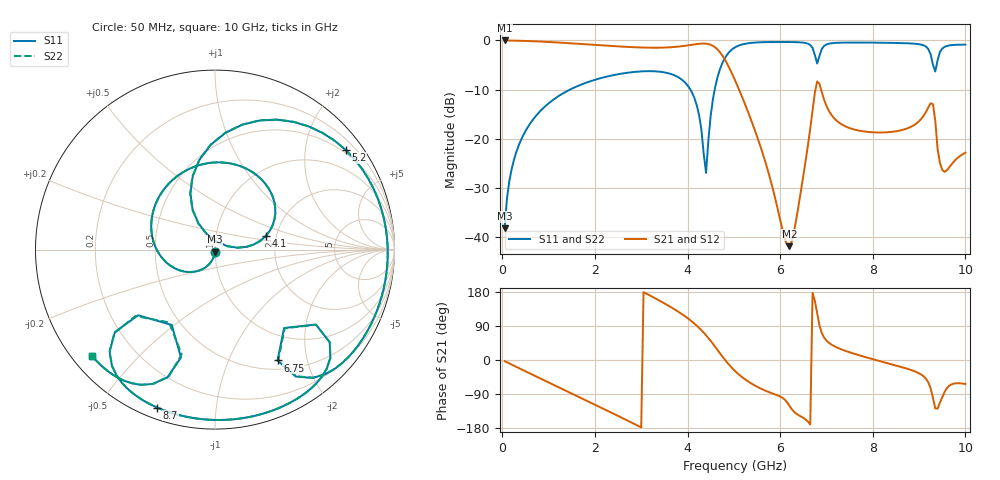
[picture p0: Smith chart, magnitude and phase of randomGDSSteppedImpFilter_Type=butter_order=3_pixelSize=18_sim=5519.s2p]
! freq	dB(S11)	phase(S11)	dB(S12)	phase(S12)
!  dB(S21)	phase(S21)	dB(S22)	phase(S22)
!S-par simulation data
#  GHz  S  DB  R 50
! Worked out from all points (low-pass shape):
!   200 points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, 50 MHz to 10 GHz, reference 50 ohm
!   highest |S21| = -0.01 dB at 50 MHz (marker M1); lowest = -41.8 dB at 6.2 GHz (marker M2)
!   |S21| within 3 dB of the highest: start of sweep to 4.747 GHz
!   lowest |S11| = -38.2 dB at 50 MHz (marker M3), VSWR 1.03, Z = 49.9 - j1.23 ohm
!   |S11| at or under -10 dB: start of sweep to 1.458 GHz; 4.062 GHz to 4.587 GHz (524.7 MHz wide, 12.1 % of centre)
!   |S22| runs from -38.2 to -0.3 dB; largest |S21 - S12| = 0
!   S11 on the Smith chart (normalised r, x): 50 MHz: 1.00, -0.02; 4.1 GHz: 1.76, +0.29; 5.2 GHz: 0.42, +2.90; 6.75 GHz: 0.62, -1.53; 8.7 GHz: 0.05, -0.70; 10 GHz: 0.06, -0.37
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0.05  -38.15 -92.5  -0.01 -3.0  -0.01 -3.0  -38.15 -92.6
0.2  -26.22 -102.0  -0.03 -12.0  -0.03 -12.0  -26.22 -102.0
0.5  -18.42 -120.3  -0.10 -29.8  -0.10 -29.8  -18.42 -120.3
1.75  -8.80 166.0  -0.75 -103.3  -0.75 -103.3  -8.80 165.9
2.6  -6.70 115.9  -1.27 -153.5  -1.27 -153.5  -6.71 115.8
3.4  -6.35 66.3  -1.47 156.3  -1.47 156.3  -6.35 66.2
4.1  -10.64 15.1  -0.87 101.1  -0.87 101.1  -10.65 15.0
4.4  -26.90 76.7  -0.66 65.4  -0.66 65.4  -27.09 77.1
4.6  -9.33 113.6  -1.43 34.3  -1.43 34.3  -9.33 113.9
5.05  -1.28 52.5  -8.61 -32.0  -8.61 -32.0  -1.28 52.7
5.2  -0.77 37.3  -11.99 -47.3  -11.99 -47.3  -0.77 37.5
6.2  -0.32 -26.1  -41.78 -120.7  -41.78 -120.7  -0.32 -25.9
6.7  -1.53 -57.5  -14.23 177.2  -14.23 177.2  -1.52 -57.2
6.75  -2.99 -60.6  -10.57 155.9  -10.57 155.9  -2.96 -60.3
6.85  -3.10 -36.6  -8.84 90.9  -8.84 90.9  -3.07 -36.6
6.95  -1.11 -43.1  -12.07 59.0  -12.07 59.0  -1.10 -43.1
8.35  -0.49 -98.3  -18.62 -9.4  -18.62 -9.4  -0.49 -98.2
8.7  -0.56 -110.1  -18.02 -21.4  -18.02 -21.4  -0.56 -110.0
9.3  -4.99 -139.5  -12.94 -100.1  -12.94 -100.1  -4.77 -140.2
9.4  -4.00 -107.5  -22.05 -128.3  -22.05 -128.3  -4.25 -107.6
9.5  -1.65 -115.0  -26.29 -98.2  -26.29 -98.2  -1.71 -114.6
10  -0.85 -139.3  -22.78 -63.1  -22.78 -63.1  -0.86 -139.2
